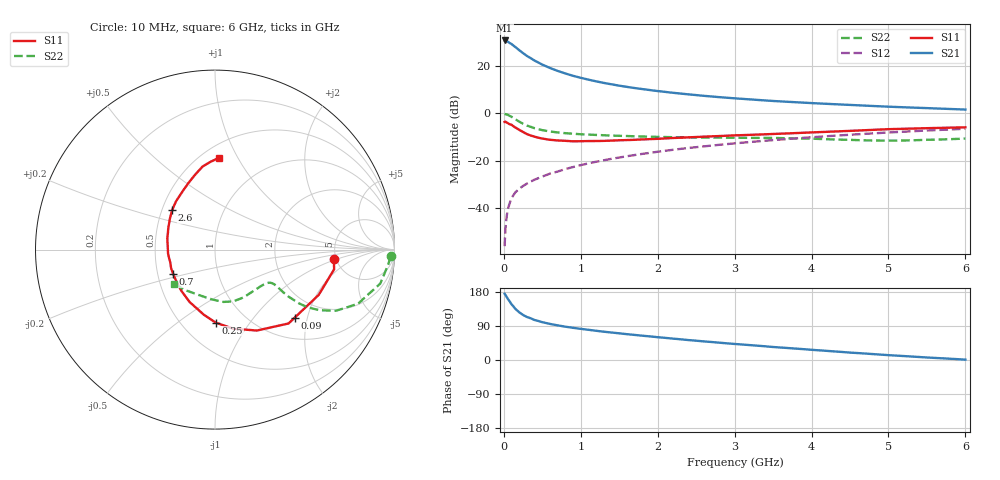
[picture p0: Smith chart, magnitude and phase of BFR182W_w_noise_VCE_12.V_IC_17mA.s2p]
! Infineon Technologies  Discrete & RF Semiconductors
! BFR182W
! VCE =  12. V,  IC =  17 mA
! Common Emitter S-Parameters:  Jan 2017
# GHz  S  MA  R  50
!  f  S11  S21  S12  S22
! GHz  MAG  ANG  MAG  ANG  MAG  ANG  MAG  ANG
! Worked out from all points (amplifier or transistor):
!   77 points, 10 MHz to 6 GHz, reference 50 ohm
!   highest |S21| = 30.8 dB at 10 MHz (marker M1)
!   |S21| within 3 dB of that: start of sweep to 158.2 MHz
!   unconditionally stable (mu >= 1): 891.3 MHz to 2.506 GHz
!   at 130 MHz: K = 0.39, MSG = 31.3 dB, |S12| = -34.2 dB
!   at 2.2 GHz: K = 1.01, MAG = 11.3 dB, |S12| = -15.3 dB
!   at 6 GHz: K = 0.86, MSG = 4.0 dB, |S12| = -6.4 dB
!   lowest NFmin = 1.32 dB at 450 MHz
!   S11 on the Smith chart (normalised r, x): 10 MHz: 4.78, -0.89; 90 MHz: 1.45, -1.67; 250 MHz: 0.72, -0.70; 700 MHz: 0.60, -0.18; 2.6 GHz: 0.57, +0.28; 6 GHz: 0.61, +0.84
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0.01  0.6641 -4.5  34.61 174.9  0.0016 72.1  0.9787 -2.2
0.02  0.6727 -9.4  34.58 171.9  0.0036 86.1  0.9695 -4.8
0.05  0.6304 -23.6  32.77 161.9  0.0092 74.4  0.9403 -11.6
0.09  0.5839 -40.6  29.67 150.2  0.0149 72.1  0.8682 -18.7
0.1  0.5809 -45.1  29.12 146.9  0.0163 71.8  0.8525 -20.7
0.15  0.5079 -62.6  25.12 134.9  0.0218 66.7  0.7553 -26.8
0.2  0.4523 -77.0  21.58 125.9  0.026 65.2  0.6738 -30.1
0.25  0.407 -89.4  18.72 118.8  0.0297 62.8  0.609 -31.9
0.3  0.3686 -99.6  16.34 113.5  0.0333 63.4  0.5567 -32.6
0.4  0.3245 -115.8  13.01 105.5  0.0403 64.6  0.4889 -32.6
0.5  0.2963 -129.4  10.71 99.8  0.0468 65.2  0.4459 -32.0
0.6  0.2792 -140.2  9.102 95.2  0.0541 66.3  0.4183 -31.2
0.7  0.2702 -149.4  7.888 91.4  0.0598 67.8  0.3987 -30.7
0.9  0.2592 -164.0  6.226 84.9  0.0744 68.9  0.3747 -30.4
1.1  0.2626 -175.7  5.169 79.7  0.089 69.5  0.3597 -30.9
1.5  0.2727 167.0  3.862 70.4  0.118 68.9  0.3386 -34.2
2.1  0.2983 148.4  2.849 58.4  0.1641 66.4  0.3191 -43.3
2.6  0.325 137.1  2.357 49.1  0.2027 63.4  0.3106 -53.3
3.1  0.3501 126.8  2.035 40.9  0.2426 59.9  0.3074 -63.3
4.1  0.4051 110.4  1.628 25.5  0.3238 51.8  0.2908 -83.3
5.1  0.4718 97.4  1.372 11.6  0.4057 42.7  0.2688 -112.4
6  0.5115 87.5  1.211 1.0  0.4766 33.8  0.2968 -139.6
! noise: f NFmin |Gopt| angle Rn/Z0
0.45  1.32  0.06  165  0.15
0.9  1.38  0.07  166  0.15
1.9  1.89  0.25  -146  0.15
2.4  2.15  0.25  -131  0.24
